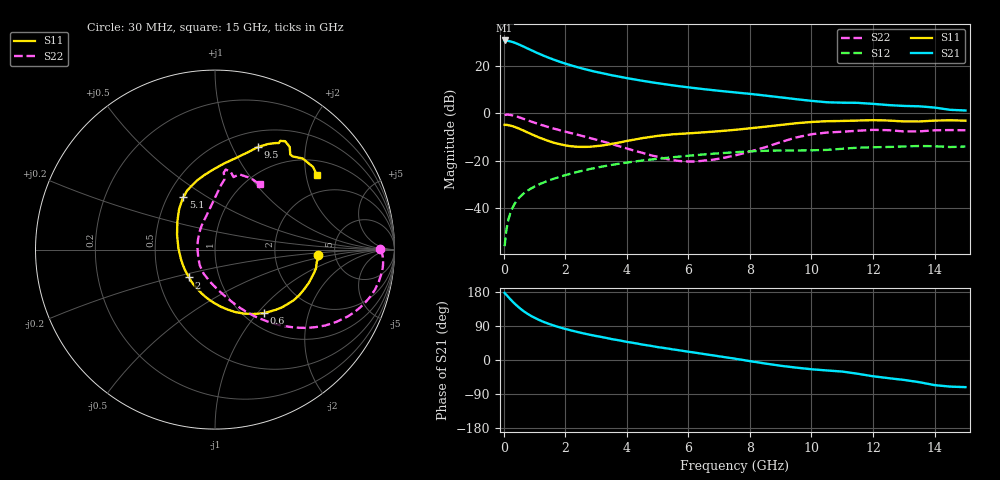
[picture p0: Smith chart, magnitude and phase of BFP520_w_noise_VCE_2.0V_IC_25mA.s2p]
! Infineon Technologies  Discrete & RF Semiconductors
! BFP520
! VCE =  2.0 V,  IC =  25 mA
! Common Emitter S-Parameters:  Oct 2015
# GHz  S  MA  R  50
!  f  S11  S21  S12  S22
! GHz  MAG  ANG  MAG  ANG  MAG  ANG  MAG  ANG
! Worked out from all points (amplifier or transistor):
!   109 points, 30 MHz to 15 GHz, reference 50 ohm
!   highest |S21| = 30.7 dB at 30 MHz (marker M1)
!   |S21| within 3 dB of that: start of sweep to 714.9 MHz
!   unconditionally stable (mu >= 1): 2.636 GHz to end of sweep
!   at 450 MHz: K = 0.38, MSG = 32.8 dB, |S12| = -36.4 dB
!   at 4 GHz: K = 1.10, MAG = 15.8 dB, |S12| = -20.7 dB
!   at 15 GHz: K = 1.25, MAG = 4.6 dB, |S12| = -14.0 dB
!   lowest NFmin = 2.24 dB at 900 MHz
!   S11 on the Smith chart (normalised r, x): 30 MHz: 3.67, -0.32; 600 MHz: 1.22, -1.08; 2 GHz: 0.72, -0.23; 5.1 GHz: 0.60, +0.40; 9.5 GHz: 0.68, +1.26; 15 GHz: 1.42, +2.32
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0.03  0.5742 -2.9  34.29 177.1  0.0016 100.1  0.9202 0.1
0.14  0.5663 -13.5  33.63 167.1  0.0052 84.7  0.9389 -7.3
0.2  0.5556 -19.1  33 161.8  0.0074 82.1  0.9303 -11.0
0.3  0.5341 -28.3  31.61 153.3  0.0107 79.1  0.9038 -16.9
0.35  0.5215 -32.7  30.82 149.3  0.0123 77.5  0.8864 -19.6
0.45  0.4923 -40.9  29.04 141.8  0.0152 74.7  0.8483 -24.5
0.6  0.4474 -52.3  26.32 131.8  0.0193 71.6  0.7859 -30.9
0.8  0.3905 -65.9  22.85 120.6  0.0242 68.4  0.7067 -37.7
0.9  0.3655 -72.1  21.34 115.9  0.0265 67.4  0.6705 -40.6
1  0.3411 -78.2  19.91 111.6  0.0287 66.4  0.637 -43.1
1.2  0.3014 -89.6  17.44 103.9  0.033 64.8  0.5778 -47.6
1.5  0.2564 -106.4  14.54 94.4  0.0394 62.8  0.5052 -53.2
1.7  0.2341 -117.2  13 89.0  0.0435 61.5  0.4647 -56.4
2  0.2122 -133.1  11.19 82.0  0.05 59.6  0.413 -60.9
2.6  0.1971 -164.8  8.645 70.1  0.0629 55.3  0.3285 -69.4
3.5  0.2278 158.3  6.372 55.3  0.0822 47.5  0.2275 -85.3
5.1  0.3411 121.0  4.23 33.0  0.1122 32.8  0.1172 -137.6
7.6  0.4561 89.0  2.729 2.3  0.1532 9.3  0.1344 128.7
9.5  0.6201 67.2  1.991 -20.1  0.1657 -9.2  0.3108 88.1
10.5  0.6843 60.2  1.715 -27.6  0.1701 -14.4  0.3945 82.3
13  0.6762 51.7  1.434 -52.5  0.2007 -35.8  0.4171 75.7
15  0.703 36.0  1.151 -71.6  0.2002 -52.1  0.4409 55.6
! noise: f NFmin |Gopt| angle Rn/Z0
0.45  2.26  0.05  -41  0.28
0.9  2.24  0.05  -56  0.3
1.9  2.41  0.06  -76  0.3
2.4  2.41  0.09  -92  0.29
3.5  2.36  0.1  -92  0.31
